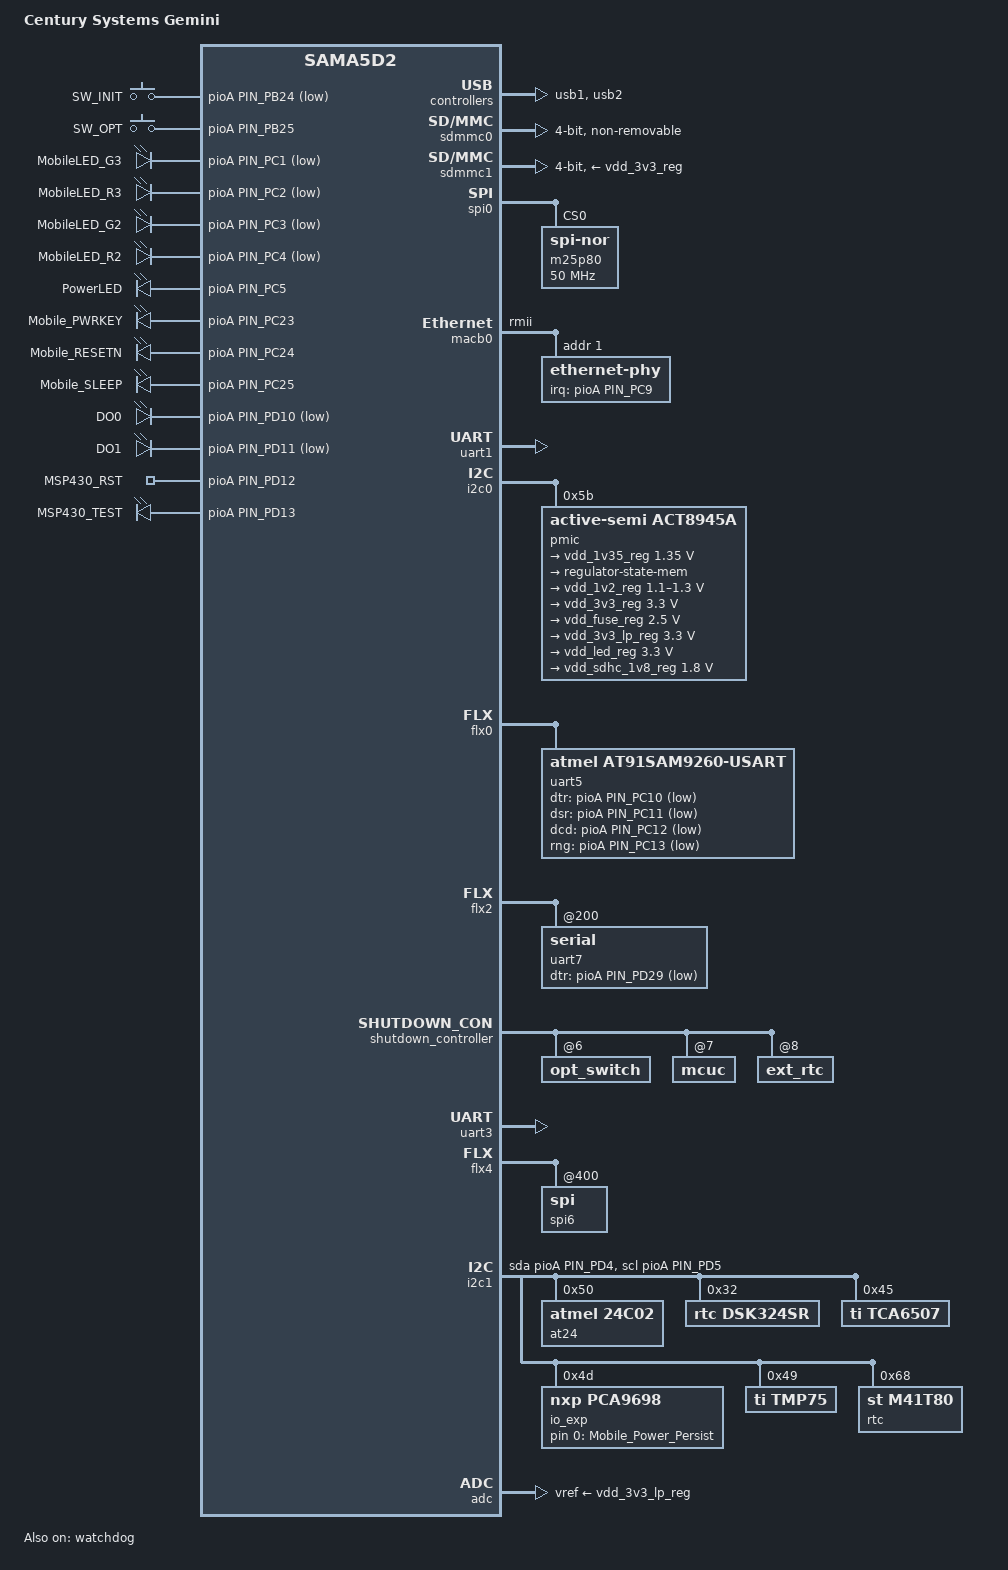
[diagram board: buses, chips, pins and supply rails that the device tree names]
// SPDX-License-Identifier: (GPL-2.0+ OR MIT)
/*
 * at91-centurysys-gemini-00.dts - Device Tree file for Century Systems Gemini board
 *
 *  Copyright (C) 2015 Atmel,
 *                2015 Nicolas Ferre <nicolas.ferre@atmel.com>
 *                2023 Century Systems <kikuchi@centurysys.co.jp>
 */
/dts-v1/;
#include "sama5d2.dtsi"
#include "sama5d2-pinfunc.h"
#include <dt-bindings/mfd/atmel-flexcom.h>
#include <dt-bindings/gpio/gpio.h>
#include <dt-bindings/input/input.h>
#include <dt-bindings/pinctrl/at91.h>
#include <dt-bindings/regulator/active-semi,8945a-regulator.h>

/ {
	model = "Century Systems Gemini";
	compatible = "atmel,sama5d2-gemini", "atmel,sama5d2", "atmel,sama5";

	aliases {
		serial0 = &uart1;
		serial1 = &uart3;
		serial2 = &uart5;
		serial3 = &uart7;
	};

	chosen {
		stdout-path = "serial0:115200n8";
	};

	clocks {
		slow_xtal {
			clock-frequency = <32768>;
		};

		main_xtal {
			clock-frequency = <12000000>;
		};
	};

	gpio_keys {
		compatible = "gpio-keys";

		pinctrl-names = "default";
		pinctrl-0 = <&pinctrl_key_gpio_default>;

		sw_init {
			label = "SW_INIT";
			gpios = <&pioA PIN_PB24 GPIO_ACTIVE_LOW>;
			linux,code = <0x100>; /* BTN_0 */
			wakeup-source;
		};

		sw_opt {
			label = "SW_OPT";
			gpios = <&pioA PIN_PB25 GPIO_ACTIVE_HIGH>;
			linux,code = <0x101>; /* BTN_1 */
			wakeup-source;
		};
	};

	leds: leds {
		compatible = "gpio-leds";
		pinctrl-names = "default";
		pinctrl-0 = <&pinctrl_led_gpio_default &pinctrl_douts_gpio_default>;
		status = "okay";

		led_g3 {
			label = "MobileLED_G3";
			gpios = <&pioA PIN_PC1 GPIO_ACTIVE_LOW>;
		};

		led_r3 {
			label = "MobileLED_R3";
			gpios = <&pioA PIN_PC2 GPIO_ACTIVE_LOW>;
		};

		led_g2 {
			label = "MobileLED_G2";
			gpios = <&pioA PIN_PC3 GPIO_ACTIVE_LOW>;
		};

		led_r2 {
			label = "MobileLED_R2";
			gpios = <&pioA PIN_PC4 GPIO_ACTIVE_LOW>;
		};

		power_led {
			label = "PowerLED";
			gpios = <&pioA PIN_PC5 GPIO_ACTIVE_HIGH>;
			default-state = "on";
		};

		mobile_powerkey {
			label = "Mobile_PWRKEY";
			gpios = <&pioA PIN_PC23 GPIO_ACTIVE_HIGH>;
			linux,default-trigger = "oneshot";
			led-pattern = <2100 100>;
		};

		mobile_resetn {
			label = "Mobile_RESETN";
			gpios = <&pioA PIN_PC24 GPIO_ACTIVE_HIGH>;
			linux,default-trigger = "oneshot";
			led-pattern = <2600 100>;
		};

		mobile_sleep {
			label = "Mobile_SLEEP";
			gpios = <&pioA PIN_PC25 GPIO_ACTIVE_HIGH>;
		};

		do_0 {
			label = "DO0";
			gpios = <&pioA PIN_PD10 GPIO_ACTIVE_LOW>;
		};

		do_1 {
			label = "DO1";
			gpios = <&pioA PIN_PD11 GPIO_ACTIVE_LOW>;
		};

		msp430_reset {
			label = "MSP430_RST";
			gpios = <&pioA PIN_PD12 GPIO_ACTIVE_HIGH>;
		};

		msp430_test {
			label = "MSP430_TEST";
			gpios = <&pioA PIN_PD13 GPIO_ACTIVE_HIGH>;
		};
	};

	leds_ioexp: leds_ioexp {
		compatible = "gpio-leds";
		status = "okay";

		mobile_power_msp430 {
			label = "Mobile_Power_Persist";
			gpios = <&io_exp 0 GPIO_ACTIVE_HIGH>;
			retain-state-suspended;
			retain-state-shutdown;
			default-state = "keep";
		};
	};
};

&usb1 {
	num-ports = <3>;
	pinctrl-names = "default";
	pinctrl-0 = <&pinctrl_usb_default>;
	atmel,vbus-gpio = <0
			   &pioA PIN_PA31 GPIO_ACTIVE_HIGH
			   &pioA PIN_PC15 GPIO_ACTIVE_HIGH
			  >;
	status = "okay";
};

&usb2 {
	status = "okay";
};

&sdmmc0 {
	bus-width = <4>;
	pinctrl-names = "default";
	pinctrl-0 = <&pinctrl_sdmmc0_default>;
	non-removable;
	no-sd;
	no-1-8-v;
	mmc-ddr-3_3v;
	status = "okay";
};

&sdmmc1 {
	bus-width = <4>;
	pinctrl-names = "default";
	pinctrl-0 = <&pinctrl_sdmmc1_default>;
	status = "okay";
	vqmmc-supply = <&vdd_3v3_reg>;
	vmmc-supply = <&vdd_3v3_reg>;
	enable_cd-gpio = <&pioA PIN_PA27 GPIO_ACTIVE_HIGH>;
};

&spi0 {
	pinctrl-names = "default";
	pinctrl-0 = <&pinctrl_spi0_default>;
	status = "okay";

	m25p80@0 {
		compatible = "jedec,spi-nor";
		reg = <0>;
		spi-max-frequency = <50000000>;
	};
};

&macb0 {
	pinctrl-names = "default";
	pinctrl-0 = <&pinctrl_macb0_default &pinctrl_macb0_phy_irq>;
	#address-cells = <1>;
	#size-cells = <0>;
	phy-mode = "rmii";
	status = "okay";

	ethernet-phy@1 {
		reg = <0x1>;
		interrupt-parent = <&pioA>;
		interrupts = <PIN_PC9 IRQ_TYPE_LEVEL_LOW>;
	};
};

/* Debug console */
&uart1 {
	pinctrl-names = "default";
	pinctrl-0 = <&pinctrl_uart1_default>;
	atmel,use-dma-rx;
	atmel,use-dma-tx;
	status = "okay";
};

&i2c0 {
	pinctrl-names = "default";
	pinctrl-0 = <&pinctrl_i2c0_default>;
	i2c-sda-hold-time-ns = <350>;
	status = "okay";

	pmic@5b {
		compatible = "active-semi,act8945a";
		reg = <0x5b>;
		active-semi,vsel-high;
		status = "okay";

		regulators {
			vdd_1v35_reg: REG_DCDC1 {
				regulator-name = "VDD_1V35";
				regulator-min-microvolt = <1350000>;
				regulator-max-microvolt = <1350000>;
				regulator-allowed-modes = <ACT8945A_REGULATOR_MODE_FIXED>,
							  <ACT8945A_REGULATOR_MODE_LOWPOWER>;
				regulator-initial-mode = <ACT8945A_REGULATOR_MODE_FIXED>;
				regulator-always-on;

				regulator-state-mem {
					regulator-on-in-suspend;
					regulator-suspend-min-microvolt=<1400000>;
					regulator-suspend-max-microvolt=<1400000>;
					regulator-changeable-in-suspend;
					regulator-mode=<ACT8945A_REGULATOR_MODE_LOWPOWER>;
				};
			};

			vdd_1v2_reg: REG_DCDC2 {
				regulator-name = "VDD_1V2";
				regulator-min-microvolt = <1100000>;
				regulator-max-microvolt = <1300000>;
				regulator-allowed-modes = <ACT8945A_REGULATOR_MODE_FIXED>,
							  <ACT8945A_REGULATOR_MODE_LOWPOWER>;
				regulator-initial-mode = <ACT8945A_REGULATOR_MODE_FIXED>;
				regulator-always-on;

				regulator-state-mem {
					regulator-off-in-suspend;
				};
			};

			vdd_3v3_reg: REG_DCDC3 {
				regulator-name = "VDD_3V3";
				regulator-min-microvolt = <3300000>;
				regulator-max-microvolt = <3300000>;
				regulator-allowed-modes = <ACT8945A_REGULATOR_MODE_FIXED>,
							  <ACT8945A_REGULATOR_MODE_LOWPOWER>;
				regulator-initial-mode = <ACT8945A_REGULATOR_MODE_FIXED>;
				regulator-always-on;

				regulator-state-mem {
					regulator-off-in-suspend;
				};
			};

			vdd_fuse_reg: REG_LDO1 {
				regulator-name = "VDD_FUSE";
				regulator-min-microvolt = <2500000>;
				regulator-max-microvolt = <2500000>;
				regulator-allowed-modes = <ACT8945A_REGULATOR_MODE_NORMAL>,
							  <ACT8945A_REGULATOR_MODE_LOWPOWER>;
				regulator-initial-mode = <ACT8945A_REGULATOR_MODE_NORMAL>;
				regulator-always-on;

				regulator-state-mem {
					regulator-off-in-suspend;
				};
			};

			vdd_3v3_lp_reg: REG_LDO2 {
				regulator-name = "VDD_3V3_LP";
				regulator-min-microvolt = <3300000>;
				regulator-max-microvolt = <3300000>;
				regulator-allowed-modes = <ACT8945A_REGULATOR_MODE_NORMAL>,
							  <ACT8945A_REGULATOR_MODE_LOWPOWER>;
				regulator-initial-mode = <ACT8945A_REGULATOR_MODE_NORMAL>;
				regulator-always-on;

			regulator-state-mem {
					regulator-off-in-suspend;
				};
			};

			vdd_led_reg: REG_LDO3 {
				regulator-name = "VDD_LED";
				regulator-min-microvolt = <3300000>;
				regulator-max-microvolt = <3300000>;
				regulator-allowed-modes = <ACT8945A_REGULATOR_MODE_NORMAL>,
							  <ACT8945A_REGULATOR_MODE_LOWPOWER>;
				regulator-initial-mode = <ACT8945A_REGULATOR_MODE_NORMAL>;
				regulator-always-on;

				regulator-state-mem {
					regulator-off-in-suspend;
				};
			};

			vdd_sdhc_1v8_reg: REG_LDO4 {
				regulator-name = "VDD_SDHC_1V8";
				regulator-min-microvolt = <1800000>;
				regulator-max-microvolt = <1800000>;
				regulator-allowed-modes = <ACT8945A_REGULATOR_MODE_NORMAL>,
							  <ACT8945A_REGULATOR_MODE_LOWPOWER>;
				regulator-initial-mode = <ACT8945A_REGULATOR_MODE_NORMAL>;
				regulator-always-on;

				regulator-state-mem {
					regulator-off-in-suspend;
				};
			};
		};

		charger {
			compatible = "active-semi,act8945a-charger";
			pinctrl-names = "default";
			pinctrl-0 = <&pinctrl_charger_chglev &pinctrl_charger_lbo &pinctrl_charger_irq>;
			interrupt-parent = <&pioA>;
			interrupts = <PIN_PB13 IRQ_TYPE_EDGE_RISING>;

			active-semi,chglev-gpios = <&pioA PIN_PA12 GPIO_ACTIVE_HIGH>;
			active-semi,lbo-gpios = <&pioA PIN_PC8 GPIO_ACTIVE_LOW>;
			active-semi,input-voltage-threshold-microvolt = <6600>;
			active-semi,precondition-timeout = <40>;
			active-semi,total-timeout = <3>;
			status = "okay";
		};
	};
};

/* DB9 RS-232C */
&flx0 {
	atmel,flexcom-mode = <ATMEL_FLEXCOM_MODE_USART>;
	status = "okay";

	uart5: serial@200 {
		compatible = "atmel,at91sam9260-usart";
		reg = <0x200 0x200>;
		interrupts = <19 IRQ_TYPE_LEVEL_HIGH 7>;
		clocks = <&pmc PMC_TYPE_PERIPHERAL 19>;
		clock-names = "usart";
		pinctrl-names = "default";
		pinctrl-0 = <&pinctrl_flx0_default>;
		atmel,fifo-size = <32>;
		dtr-gpios = <&pioA PIN_PC10 GPIO_ACTIVE_LOW>;
		dsr-gpios = <&pioA PIN_PC11 GPIO_ACTIVE_LOW>;
		dcd-gpios = <&pioA PIN_PC12 GPIO_ACTIVE_LOW>;
		rng-gpios = <&pioA PIN_PC13 GPIO_ACTIVE_LOW>;
		status = "okay";
	};
};

&flx2 {
	atmel,flexcom-mode = <ATMEL_FLEXCOM_MODE_USART>;
	status = "okay";

	uart7: serial@200 {
		pinctrl-0 = <&pinctrl_flx2_default>;
		pinctrl-names = "default";
		linux,rs485-enabled-at-boot-time;
		dtr-gpios = <&pioA PIN_PD29 GPIO_ACTIVE_LOW>;
		atmel,use-dma-rx;
		atmel,use-dma-tx;
		status = "okay";
	};
};

&shutdown_controller {
	debounce-delay-us = <976>;
	atmel,wakeup-rtc-timer;

	opt_switch@4 {
		reg = <6>;
	};

	mcuc@5 {
		reg = <7>;
		atmel,wakeup-active-high;
	};

	ext_rtc@6 {
		reg = <8>;
	};
};

&watchdog {
	status = "okay";
};

/* MSP430 */
&uart3 {
	atmel,use-dma-rx;
	atmel,use-dma-tx;
	pinctrl-names = "default";
	pinctrl-0 = <&pinctrl_uart3_default>;
	status = "okay";
};

/* XIO SPI */
&flx4 {
	atmel,flexcom-mode = <ATMEL_FLEXCOM_MODE_SPI>;
	status = "okay";

	spi6: spi@400 {
		pinctrl-names = "default";
		pinctrl-0 = <&pinctrl_flx4_default>;
		atmel,fifo-size = <32>;
		status = "okay";
	};
};

&i2c1 {
	dmas = <0>, <0>;
	pinctrl-names = "default", "gpio";
	pinctrl-0 = <&pinctrl_i2c1_default>;
	pinctrl-1 = <&pinctrl_i2c1_gpio>;
	sda-gpios = <&pioA PIN_PD4 GPIO_ACTIVE_HIGH>;
	scl-gpios = <&pioA PIN_PD5 (GPIO_ACTIVE_HIGH | GPIO_OPEN_DRAIN)>;
	i2c-digital-filter;
	i2c-digital-filter-width-ns = <35>;
	status = "okay";

	at24@50 {
		compatible = "atmel,24c02";
		reg = <0x50>;
		pagesize = <16>;
	};

	dsk324sr@32 {
		compatible = "rtc,dsk324sr";
		reg = <0x32>;
	};

	tca6507@45 {
		compatible = "ti,tca6507";
		#address-cells = <1>;
		#size-cells = <0>;
		reg = <0x45>;

		led0: power-status-red@0 {
			label = "power-stat:r";
			reg = <0x0>;
		};

		led1: system-status1-red@1 {
			label = "system-status1:r";
			reg = <0x1>;
			linux,default-trigger = "heartbeat";
		};

		led2: system-status2-red@2 {
			label = "system-status2:r";
			reg = <0x2>;
		};

		led3: system-status3-red@3 {
			label = "system-status3:r";
			reg = <0x3>;
		};

		led4: system-status1-green@4 {
			label = "system-status1:g";
			reg = <0x4>;
			linux,default-trigger = "timer-suspend";
		};

		led5: system-status2-green@5 {
			label = "system-status2:g";
			reg = <0x5>;
		};

		led6: system-status3-green@6 {
			label = "system-status3:g";
			reg = <0x6>;
		};
	};

	io_exp: io_exp@4d {
		compatible = "nxp,pca9698";
		reg = <0x4d>;
		#address-cells = <1>;
		#size-cells = <0>;
		#gpio-cells = <2>;

		gpio-line-names = "Mobile_Power_MSP430", "", "", "", "", "", "", "",
				  "", "", "", "", "", "", "", "", /* Reserved */
				  "", "", "", "", "", "", "", "", /* Reserved */
				  "", "", "", "", "", "", "", "", /* Reserved */
				  "", "", "", "", "", "", "", ""; /* Reserved */
	};

	tmp75@49 {
		compatible = "ti,tmp75";
		reg = <0x49>;
	};

	rtc@68 {
		compatible = "st,m41t80";
		reg = <0x68>;
		wakeup-source;
	};
};

&adc {
	vddana-supply = <&vdd_3v3_lp_reg>;
	vref-supply = <&vdd_3v3_lp_reg>;
	pinctrl-names = "default";
	pinctrl-0 = <&pinctrl_adc_default &pinctrl_adtrg_default>;
	status = "okay";
};

&pioA {
	gpio-line-names = "", "", "", "", "", "", "", "", /* PA0  ..  7 */
			  "", "", "", "", "", "", "", "", /* PA8  .. 15 */
			  "", "", "", "", "", "", "", "", /* PA16 .. 23 */
			  "", "", "", "", "", "", "", "", /* PA24 .. 31 */
			  "", "DIPSW0", "DIPSW1", "DIPSW2", "DIPSW3", "", "", "",
			  "", "", "", "", "", "", "", "", /* PB8  .. 15 */
			  "", "", "", "", "", "", "", "", /* PB16 .. 23 */
			  "SW_INIT_N", "SW_OPT", "", "", "", "", "", "",
			  "", "MobileLED_G3", "MobileLED_R3", "MobileLED_G2",
			  "MobileLED_R2", "PowerLED_G", "", "PHY_RESET_N",
			  "", "", "DB9_DTR", "DB9_DSR", "DB9_DCD", "DB9_RI",
			  "DB9_FORCEOFF_N", "XIOUSB_ENABLE", "XIOUSB_OVC",
			  "XIOIRQ_N", "", "", "", "", "",
			  "Mobile_PWRKEY", "Mobile_RESET_N", "Mobile_SLEEP_N",
			  "Mobile_READY_N","Mobile_WAKEUP_N", "", "", "", "",
			  "", "", "", "", "", "", "DI0", "DI1",
			  "DI2", "DI3", "DO0", "DO1", "MSP430_RST",
			  "MSP430_TEST", "", "",
			  "", "", "", "", "", "", "", "", /* PD16 .. 23 */
			  "", "", "", "", "", "", "", ""; /* PD24 .. 31 */
	/*
	 * There is no real pinmux for ADC, if the pin
	 * is not requested by another peripheral then
	 * the muxing is done when channel is enabled.
	 * Requesting pins for ADC is GPIO is
	 * encouraged to prevent conflicts and to
	 * disable bias in order to be in the same
	 * state when the pin is not muxed to the adc.
	 */
	pinctrl_adc_default: adc_default {
		pinmux = <PIN_PD19__GPIO>;
		bias-disable;
	};

	/*
	 * The ADTRG pin can work on any edge type.
	 * In here it's being pulled up, so need to
	 * connect it to ground to get an edge e.g.
	 * Trigger can be configured on falling, rise
	 * or any edge, and the pull-up can be changed
	 * to pull-down or left floating according to
	 * needs.
	 */
	pinctrl_adtrg_default: adtrg_default {
		pinmux = <PIN_PD31__ADTRG>;
		bias-pull-up;
	};

	pinctrl_charger_chglev: charger_chglev {
		pinmux = <PIN_PA12__GPIO>;
		bias-disable;
	};

	pinctrl_charger_irq: charger_irq {
		pinmux = <PIN_PB13__GPIO>;
		bias-disable;
	};

	pinctrl_charger_lbo: charger_lbo {
		pinmux = <PIN_PC8__GPIO>;
		bias-pull-up;
	};

	pinctrl_flx0_default: flx0_default {
		pinmux = <PIN_PB28__FLEXCOM0_IO0>,
			 <PIN_PB29__FLEXCOM0_IO1>,
			 <PIN_PB31__FLEXCOM0_IO3>,
			 <PIN_PC0__FLEXCOM0_IO4>,
			 <PIN_PC10__GPIO>,
			 <PIN_PC11__GPIO>,
			 <PIN_PC12__GPIO>,
			 <PIN_PC13__GPIO>;
		bias-disable;
	};

	pinctrl_flx2_default: flx2_default {
		pinmux = <PIN_PD26__FLEXCOM2_IO0>,
			 <PIN_PD27__FLEXCOM2_IO1>,
			 <PIN_PD29__GPIO>,
			 <PIN_PD30__FLEXCOM2_IO4>;
		bias-disable;
	};

	pinctrl_flx4_default: flx4_default {
		clk {
			pinmux = <PIN_PC30__FLEXCOM4_IO2>;
			atmel,drive-strength = <ATMEL_PIO_DRVSTR_ME>;
			bias-disable;
		};

		data {
			pinmux = <PIN_PC28__FLEXCOM4_IO0>,
				 <PIN_PC29__FLEXCOM4_IO1>,
				 <PIN_PC31__FLEXCOM4_IO3>,
				 <PIN_PD0__FLEXCOM4_IO4>;
			atmel,drive-strength = <ATMEL_PIO_DRVSTR_LO>;
			bias-disable;
		};
	};

	pinctrl_i2c0_default: i2c0_default {
		pinmux = <PIN_PD21__TWD0>,
			 <PIN_PD22__TWCK0>;
		bias-disable;
	};

	pinctrl_i2c1_default: i2c1_default {
		pinmux = <PIN_PD4__TWD1>,
			 <PIN_PD5__TWCK1>;
		bias-disable;
	};

	pinctrl_i2c1_gpio: i2c1_gpio {
		pinmux = <PIN_PD4__GPIO>,
			 <PIN_PD5__GPIO>;
		bias-disable;
	};

	pinctrl_key_gpio_default: key_gpio_default {
		pinmux = <PIN_PB24__GPIO>,
		         <PIN_PB25__GPIO>;
		bias-disable;
		input-schmitt-enable = <1>;
	};

	pinctrl_led_gpio_default: led_gpio_default {
		pinmux = <PIN_PC2__GPIO>,
			 <PIN_PC4__GPIO>,
			 <PIN_PC23__GPIO>,
			 <PIN_PC24__GPIO>,
			 <PIN_PC25__GPIO>,
			 <PIN_PD12__GPIO>,
			 <PIN_PD13__GPIO>;
		bias-disable;
	};

	pinctrl_douts_gpio_default: douts_gpio_default {
		pinmux = <PIN_PC1__GPIO>,
			 <PIN_PC3__GPIO>,
			 <PIN_PC5__GPIO>,
			 <PIN_PD10__GPIO>,
			 <PIN_PD11__GPIO>;
		bias-disable;
		atmel,drive-strength = <ATMEL_PIO_DRVSTR_ME>;
	};

	pinctrl_macb0_default: macb0_default {
		pinmux = <PIN_PB14__GTXCK>,
			 <PIN_PB15__GTXEN>,
			 <PIN_PB16__GRXDV>,
			 <PIN_PB17__GRXER>,
			 <PIN_PB18__GRX0>,
			 <PIN_PB19__GRX1>,
			 <PIN_PB20__GTX0>,
			 <PIN_PB21__GTX1>,
			 <PIN_PB22__GMDC>,
			 <PIN_PB23__GMDIO>;
		bias-disable;
	};

	pinctrl_macb0_phy_irq: macb0_phy_irq {
		pinmux = <PIN_PC9__GPIO>;
		bias-disable;
	};

	pinctrl_sdmmc0_default: sdmmc0_default {
		cmd_data {
			pinmux = <PIN_PA1__SDMMC0_CMD>,
				 <PIN_PA2__SDMMC0_DAT0>,
				 <PIN_PA3__SDMMC0_DAT1>,
				 <PIN_PA4__SDMMC0_DAT2>,
				 <PIN_PA5__SDMMC0_DAT3>;
			bias-disable;
		};

		ck_cd_rstn_vddsel {
			pinmux = <PIN_PA0__SDMMC0_CK>,
				 <PIN_PA10__SDMMC0_RSTN>,
				 <PIN_PA13__SDMMC0_CD>;
			bias-disable;
		};
	};

	pinctrl_sdmmc1_default: sdmmc1_default {
		cmd_data {
			pinmux = <PIN_PA28__SDMMC1_CMD>,
				 <PIN_PA18__SDMMC1_DAT0>,
				 <PIN_PA19__SDMMC1_DAT1>,
				 <PIN_PA20__SDMMC1_DAT2>,
				 <PIN_PA21__SDMMC1_DAT3>,
				 <PIN_PA27__GPIO>;
			bias-disable;
		};

		conf-ck_cd {
			pinmux = <PIN_PA22__SDMMC1_CK>,
				 <PIN_PA30__SDMMC1_CD>;
			bias-disable;
		};
	};

	pinctrl_spi0_default: spi0_default {
		pinmux = <PIN_PA14__SPI0_SPCK>,
			 <PIN_PA15__SPI0_MOSI>,
			 <PIN_PA16__SPI0_MISO>,
			 <PIN_PA17__SPI0_NPCS0>;
		bias-disable;
	};

	pinctrl_uart1_default: uart1_default {
		pinmux = <PIN_PD2__URXD1>,
			 <PIN_PD3__UTXD1>;
		bias-disable;
	};

	pinctrl_uart3_default: uart3_default {
		pinmux = <PIN_PB11__URXD3>,
			 <PIN_PB12__UTXD3>;
		bias-disable;
	};

	pinctrl_usb_default: usb_default {
		pinmux = <PIN_PA31__GPIO>,
			 <PIN_PC15__GPIO>;
		bias-disable;
	};

	pinctrl_gpio_in_default: gpio_in_default {
		pinmux = <PIN_PB1__GPIO>,
			 <PIN_PB2__GPIO>,
			 <PIN_PB3__GPIO>,
			 <PIN_PB4__GPIO>,
			 <PIN_PC23__GPIO>,
			 <PIN_PC27__GPIO>,
			 <PIN_PD6__GPIO>,
			 <PIN_PD7__GPIO>,
			 <PIN_PD8__GPIO>,
			 <PIN_PD9__GPIO>;
		input-schmitt-enable;
		input-debounce;
	};

	pinctrl_xioirq_default: xioirq_default {
		pinmux = <PIN_PC17__GPIO>;
		bias-disable;
		input-schmitt-enable;
	};
};

&pioBU {
	#address-cells = <1>;
	#size-cells = <0>;

	gpio-line-names = "BU_DI0",
			  "BU_DI1",
			  "BU_DI2",
			  "BU_DI3",
			  "BU_OPT_SW",
			  "BU_MSP430_IRQ",
			  "BU_EXT_RTC_ALARM",
			  "BU_XIO_WAKEUP";

	pio@bu0 {
		reg = <0>;
	};

	pio@bu1 {
		reg = <1>;
	};

	pio@bu2 {
		reg = <2>;
	};

	pio@bu3 {
		reg = <3>;
	};

	pio@bu5 {
		reg = <5>;
	};

	pio@bu6 {
		reg = <6>;
	};

	pio@bu7 {
		reg = <7>;
	};
};
